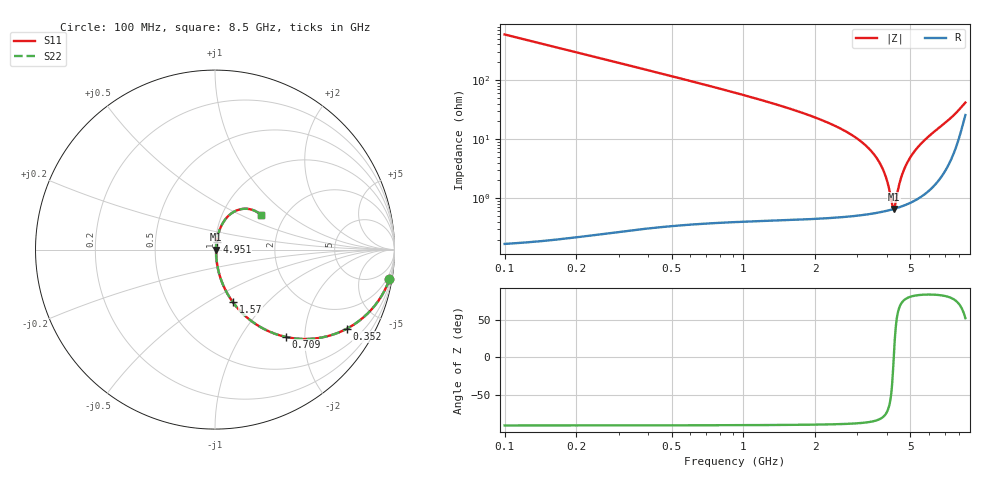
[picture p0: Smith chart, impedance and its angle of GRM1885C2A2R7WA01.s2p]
!Murata Part Number: GRM1885C2A2R7WA01
!These Parameters are Measured in Series Mode Connection
!Data Generated on Mar 30, 2021
!  o--ll--o
!Port1  Port2
!  o------o
!Operation Temp=25[degC], DC Bias Voltage=0[V]
!Freq. Start=100[MHz] Stop=9[GHz] 401[Steps]
# Hz S RI R 50
!Freq.(Hz) S11(Real) S11(Imag) S21(Real) S21(Imag) S12(Real) S12(Imag) S22(Real) S22(Imag)
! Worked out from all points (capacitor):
!   401 points, 100 MHz to 8.5 GHz, reference 50 ohm
!   read as one part in series: C = 2.7 pF near 142 MHz
!   lowest |Z| = 660 mohm at 4.258 GHz (marker M1)
!   series resonance near 4.26 GHz, so ESL is about 520 pH
!   S11 on the Smith chart (normalised r, x): 100 MHz: 1, -12; 352 MHz: 1.01, -3.32; 709 MHz: 1.01, -1.62; 1.57 GHz: 1.01, -0.65; 4.951 GHz: 1.02, +0.09; 8.5 GHz: 1.51, +0.65
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1e8  0.9719 -0.165  0.0281 0.165  0.0281 0.165  0.9719 -0.165
2.26e8  0.8709 -0.3349  0.1291 0.3349  0.1291 0.3349  0.8709 -0.3349
3.52e8  0.7339 -0.441  0.2661 0.441  0.2661 0.441  0.7339 -0.441
4.99e8  0.5754 -0.4928  0.4246 0.4928  0.4246 0.4928  0.5754 -0.4928
7.09e8  0.3957 -0.4867  0.6043 0.4867  0.6043 0.4867  0.3957 -0.4867
1.045e9  0.2217 -0.4116  0.7783 0.4116  0.7783 0.4116  0.2217 -0.4116
1.507e9  0.1087 -0.3052  0.8913 0.3052  0.8913 0.3052  0.1087 -0.3052
1.57e9  0.0993 -0.2926  0.9007 0.2926  0.9007 0.2926  0.0993 -0.2926
2.914e9  0.0168 -0.1078  0.9832 0.1078  0.9832 0.1078  0.0168 -0.1078
3.397e9  0.00959 -0.0644  0.9904 0.0644  0.9904 0.0644  0.00959 -0.0644
3.754e9  0.00712 -0.0362  0.9929 0.0362  0.9929 0.0362  0.00712 -0.0362
3.985e9  0.00648 -0.0192  0.9935 0.0192  0.9935 0.0192  0.00648 -0.0192
4.195e9  0.00646 -0.00446  0.9935 0.00446  0.9935 0.00446  0.00646 -0.00446
4.258e9  0.00655 -0.000151  0.9934 0.000151  0.9934 0.000151  0.00655 -0.000151
4.3e9  0.00663 0.0027  0.9934 -0.0027  0.9934 -0.0027  0.00663 0.0027
4.447e9  0.00707 0.0125  0.9929 -0.0125  0.9929 -0.0125  0.00707 0.0125
4.573e9  0.00761 0.0208  0.9924 -0.0208  0.9924 -0.0208  0.00761 0.0208
4.951e9  0.0102 0.0448  0.9898 -0.0448  0.9898 -0.0448  0.0102 0.0448
5.707e9  0.0198 0.0909  0.9802 -0.0909  0.9802 -0.0909  0.0198 0.0909
7.114e9  0.0659 0.1789  0.9341 -0.1789  0.9341 -0.1789  0.0659 0.1789
8.017e9  0.1592 0.2273  0.8408 -0.2273  0.8408 -0.2273  0.1592 0.2273
8.5e9  0.2544 0.1938  0.7456 -0.1938  0.7456 -0.1938  0.2544 0.1938
